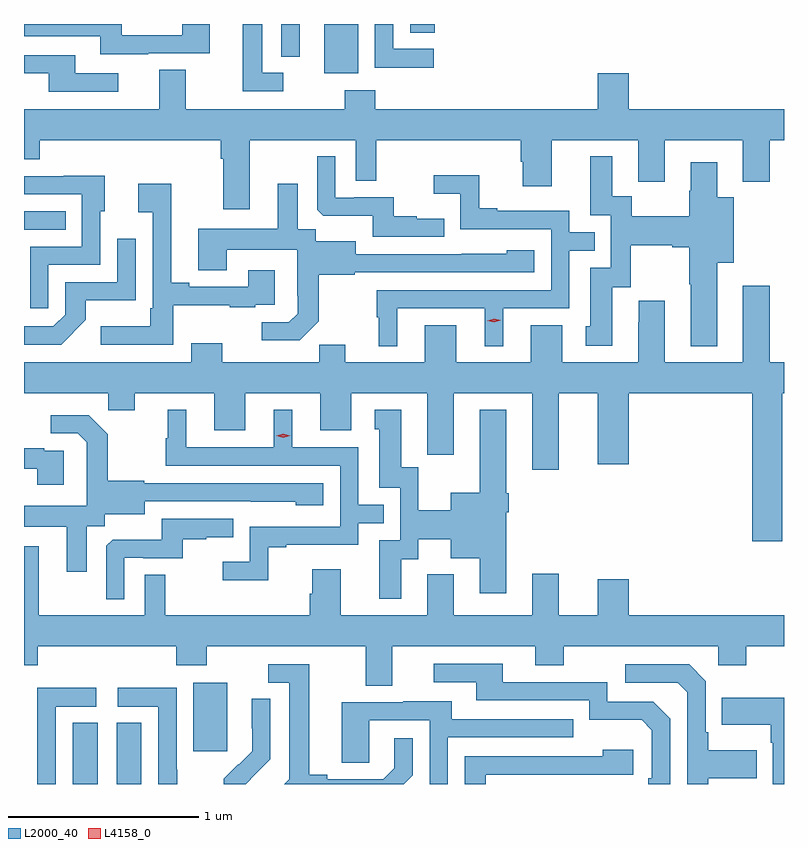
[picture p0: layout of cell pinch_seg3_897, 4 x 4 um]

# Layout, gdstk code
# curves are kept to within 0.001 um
import gdstk
lib = gdstk.Library(unit=1e-6, precision=1e-09)
def R(c, l, rs):  # rectangles x0, y0, x1, y1
    for r in rs: c.add(gdstk.rectangle(r[:2], r[2:], *l))
def P(c, l, *ps):  # polygons
    for p in ps: c.add(gdstk.Polygon(p, *l))
L2000_40 = (2000, 40)
L4158_0 = (4158, 0)

pinch_seg3_897 = lib.new_cell('pinch_seg3_897')
R(pinch_seg3_897, L2000_40, [(821.585,674.884,821.716,675.206), (821.816,674.884,821.947,675.206), (822.221,675.057,822.4,675.418), (821.329,677.802,821.549,677.898), (822.908,678.626,823.087,678.884), (823.361,678.838,823.492,678.884)])
P(pinch_seg3_897, L2000_40, [(821.983,678.729),(822.307,678.729),(822.307,678.884),(822.162,678.884),(822.162,678.825),(821.844,678.825),(821.844,678.884),(821.329,678.884),(821.329,678.819),(821.729,678.819),(821.729,678.725),(821.983,678.725)],
  [(822.694,678.627),(822.583,678.627),(822.583,678.884),(822.479,678.884),(822.479,678.531),(822.694,678.531)],
  [(823.486,678.753),(823.272,678.753),(823.272,678.884),(823.176,678.884),(823.176,678.655),(823.486,678.655)],
  [(822.78,678.866),(822.779,678.866),(822.779,678.884),(822.684,678.884),(822.684,678.712),(822.78,678.712)],
  [(821.824,678.624),(821.599,678.624),(821.599,678.72),(821.329,678.72),(821.329,678.624),(821.459,678.624),(821.459,678.528),(821.824,678.528)],
  [(822.517,678.272),(823.074,678.272),(823.074,678.058),(823.183,678.058),(823.183,678.272),(823.943,678.272),(823.943,678.159),(823.955,678.159),(823.955,678.03),(824.107,678.03),(824.107,678.272),(824.561,678.272),(824.561,678.054),(824.701,678.054),(824.701,678.272),(825.113,678.272),(825.113,678.054),(825.253,678.054),(825.253,678.272),(825.329,678.272),(825.329,678.436),(824.512,678.436),(824.512,678.625),(824.348,678.625),(824.348,678.436),(823.178,678.436),(823.178,678.535),(823.018,678.535),(823.018,678.436),(822.181,678.436),(822.181,678.644),(822.041,678.644),(822.041,678.436),(821.329,678.436),(821.329,678.173),(821.413,678.173),(821.413,678.272),(822.365,678.272),(822.365,678.176),(822.377,678.176),(822.377,677.91),(822.517,677.91)],
  [(823.541,677.86),(823.397,677.86),(823.397,677.872),(823.274,677.872),(823.274,677.973),(823.066,677.973),(823.066,677.97),(822.966,677.97),(822.966,678.187),(822.873,678.187),(822.873,677.907),(822.905,677.876),(823.164,677.876),(823.164,677.763),(823.541,677.763)],
  [(824.977,677.627),(825.064,677.627),(825.064,677.971),(824.977,677.971),(824.977,678.157),(824.837,678.157),(824.837,678.006),(824.83,678.006),(824.83,677.872),(824.527,677.872),(824.527,677.978),(824.425,677.978),(824.425,678.187),(824.309,678.187),(824.309,677.877),(824.418,677.877),(824.418,677.601),(824.309,677.601),(824.309,677.292),(824.285,677.292),(824.285,677.19),(824.425,677.19),(824.425,677.498),(824.523,677.498),(824.523,677.72),(824.741,677.72),(824.741,677.708),(824.83,677.708),(824.83,677.515),(824.837,677.515),(824.837,677.189),(824.977,677.189)],
  [(823.294,677.388),(823.754,677.388),(823.754,677.189),(823.852,677.189),(823.852,677.388),(824.199,677.388),(824.199,677.691),(824.333,677.691),(824.333,677.787),(824.199,677.787),(824.199,677.901),(823.819,677.901),(823.819,677.914),(823.725,677.914),(823.725,678.089),(823.485,678.089),(823.485,677.99),(823.626,677.99),(823.626,677.805),(824.103,677.805),(824.103,677.484),(823.185,677.484),(823.185,677.34),(823.196,677.34),(823.196,677.189),(823.294,677.189)],
  [(821.457,677.616),(821.73,677.616),(821.73,677.898),(821.755,677.898),(821.755,678.086),(821.537,678.086),(821.537,678.084),(821.329,678.084),(821.329,677.988),(821.634,677.988),(821.634,677.712),(821.361,677.712),(821.361,677.388),(821.457,677.388)],
  [(822.115,677.405),(822.413,677.405),(822.413,677.394),(822.545,677.394),(822.545,677.406),(822.649,677.406),(822.649,677.587),(822.509,677.587),(822.509,677.502),(822.199,677.502),(822.199,677.521),(822.103,677.521),(822.103,678.043),(821.931,678.043),(821.931,677.894),(822.006,677.894),(822.006,677.389),(821.994,677.389),(821.994,677.293),(821.733,677.293),(821.733,677.196),(822.115,677.196)],
  [(822.879,677.319),(822.879,677.565),(823.071,677.565),(823.071,677.577),(824.014,677.577),(824.014,677.692),(823.869,677.692),(823.869,677.674),(823.075,677.673),(823.075,677.74),(822.864,677.74),(822.864,677.804),(822.769,677.804),(822.769,678.043),(822.665,678.043),(822.665,677.806),(822.245,677.806),(822.245,677.587),(822.397,677.587),(822.397,677.696),(822.768,677.696),(822.768,677.455),(822.77,677.455),(822.77,677.36),(822.723,677.313),(822.579,677.313),(822.579,677.219),(822.779,677.219)],
  [(821.655,677.327),(821.655,677.429),(821.916,677.429),(821.916,677.755),(821.82,677.755),(821.82,677.526),(821.547,677.526),(821.547,677.355),(821.484,677.292),(821.329,677.292),(821.329,677.196),(821.524,677.196)],
  [(825.321,676.94),(825.329,676.94),(825.329,677.104),(825.253,677.104),(825.253,677.506),(825.113,677.506),(825.113,677.104),(824.701,677.104),(824.701,677.428),(824.564,677.428),(824.564,677.315),(824.561,677.315),(824.561,677.104),(824.161,677.104),(824.161,677.299),(823.997,677.299),(823.997,677.104),(823.603,677.104),(823.603,677.299),(823.439,677.299),(823.439,677.104),(823.021,677.104),(823.021,677.195),(822.883,677.195),(822.883,677.104),(822.373,677.104),(822.373,677.203),(822.209,677.203),(822.209,677.104),(821.329,677.104),(821.329,676.94),(821.773,676.94),(821.773,676.85),(821.911,676.85),(821.911,676.94),(822.329,676.94),(822.329,676.746),(822.493,676.746),(822.493,676.94),(822.887,676.94),(822.887,676.746),(823.051,676.746),(823.051,676.94),(823.451,676.94),(823.451,676.729),(823.452,676.729),(823.452,676.617),(823.591,676.617),(823.591,676.94),(824.003,676.94),(824.003,676.539),(824.143,676.539),(824.143,676.94),(824.348,676.94),(824.348,676.566),(824.512,676.566),(824.512,676.94),(825.161,676.94),(825.161,676.161),(825.321,676.161)],
  [(823.315,676.066),(823.405,676.066),(823.405,676.172),(823.574,676.172),(823.574,676.073),(823.727,676.073),(823.727,675.888),(823.867,675.888),(823.867,676.313),(823.88,676.313),(823.88,676.413),(823.867,676.413),(823.867,676.855),(823.727,676.855),(823.727,676.417),(823.574,676.417),(823.574,676.324),(823.404,676.324),(823.404,676.551),(823.315,676.551),(823.315,676.855),(823.175,676.855),(823.175,676.752),(823.199,676.752),(823.199,676.443),(823.308,676.443),(823.308,676.167),(823.199,676.167),(823.199,675.858),(823.315,675.858)],
  [(822.615,676.131),(822.709,676.131),(822.709,676.143),(823.089,676.143),(823.089,676.257),(823.223,676.257),(823.223,676.353),(823.089,676.353),(823.089,676.656),(822.742,676.656),(822.742,676.855),(822.644,676.855),(822.644,676.656),(822.184,676.656),(822.184,676.855),(822.086,676.855),(822.086,676.704),(822.075,676.704),(822.075,676.56),(822.993,676.56),(822.993,676.239),(822.516,676.239),(822.516,676.054),(822.375,676.054),(822.375,675.956),(822.615,675.956)],
  [(821.659,676.24),(821.754,676.24),(821.754,676.304),(821.965,676.304),(821.965,676.371),(822.759,676.37),(822.759,676.352),(822.904,676.352),(822.904,676.467),(821.961,676.467),(821.961,676.48),(821.769,676.48),(821.769,676.725),(821.669,676.825),(821.469,676.825),(821.469,676.731),(821.613,676.731),(821.66,676.684),(821.66,676.589),(821.658,676.589),(821.658,676.348),(821.329,676.348),(821.329,676.238),(821.555,676.238),(821.555,676.002),(821.659,676.002)],
  [(821.539,676.638),(821.435,676.638),(821.435,676.651),(821.329,676.651),(821.329,676.542),(821.399,676.542),(821.399,676.458),(821.539,676.458)],
  [(821.856,676.074),(821.956,676.074),(821.956,676.071),(822.164,676.071),(822.164,676.173),(822.287,676.173),(822.287,676.184),(822.431,676.184),(822.431,676.281),(822.054,676.281),(822.054,676.169),(821.795,676.169),(821.763,676.137),(821.763,675.857),(821.856,675.857)],
  [(823.267,675.608),(824.021,675.608),(824.021,675.509),(824.169,675.509),(824.169,675.608),(824.982,675.608),(824.982,675.509),(825.129,675.509),(825.129,675.608),(825.329,675.608),(825.329,675.772),(824.512,675.772),(824.512,675.961),(824.348,675.961),(824.348,675.772),(824.143,675.772),(824.143,675.991),(824.003,675.991),(824.003,675.772),(823.591,675.772),(823.591,675.988),(823.451,675.988),(823.451,675.772),(822.997,675.772),(822.997,676.015),(822.845,676.015),(822.845,675.885),(822.833,675.885),(822.833,675.772),(822.073,675.772),(822.073,675.986),(821.964,675.986),(821.964,675.772),(821.407,675.772),(821.407,676.135),(821.329,676.135),(821.329,675.509),(821.402,675.509),(821.402,675.608),(822.131,675.608),(822.131,675.509),(822.291,675.509),(822.291,675.608),(823.127,675.608),(823.127,675.4),(823.267,675.4)],
  [(824.73,675.228),(824.64,675.318),(824.4,675.318),(824.4,675.42),(823.849,675.42),(823.849,675.516),(823.485,675.516),(823.485,675.42),(823.709,675.42),(823.709,675.324),(824.304,675.324),(824.304,675.221),(824.581,675.221),(824.634,675.168),(824.634,674.914),(824.614,674.914),(824.614,674.884),(824.73,674.884)],
  [(824.929,674.914),(825.185,674.914),(825.185,675.061),(824.929,675.061),(824.929,675.157),(824.916,675.157),(824.916,675.426),(824.829,675.513),(824.493,675.513),(824.493,675.417),(824.769,675.417),(824.82,675.366),(824.82,674.884),(824.929,674.884)],
  [(823.374,674.93),(823.374,675.124),(823.277,675.124),(823.277,674.967),(823.22,674.91),(822.925,674.91),(822.925,674.933),(822.829,674.933),(822.829,675.513),(822.615,675.513),(822.615,675.417),(822.725,675.417),(822.725,674.909),(822.7,674.884),(823.328,674.884)],
  [(822.135,674.96),(822.132,674.96),(822.132,675.39),(821.823,675.39),(821.823,675.291),(822.036,675.291),(822.036,674.884),(822.135,674.884)],
  [(821.496,675.291),(821.71,675.291),(821.71,675.39),(821.4,675.39),(821.4,674.96),(821.398,674.96),(821.398,674.884),(821.496,674.884)],
  [(825.329,675.337),(825.001,675.337),(825.001,675.197),(825.258,675.197),(825.258,675.101),(825.27,675.101),(825.27,674.884),(825.329,674.884)],
  [(822.552,674.94),(822.551,674.941),(822.624,675.014),(822.624,675.332),(822.528,675.332),(822.528,675.178),(822.53,675.178),(822.53,675.056),(822.459,674.985),(822.456,674.988),(822.379,674.911),(822.379,674.884),(822.496,674.884)],
  [(823.56,675.129),(824.219,675.129),(824.219,675.225),(823.579,675.225),(823.579,675.319),(823.325,675.319),(823.325,675.315),(823.001,675.315),(823.001,674.995),(823.146,674.995),(823.146,675.219),(823.464,675.219),(823.464,674.884),(823.56,674.884)],
  [(823.759,674.934),(824.536,674.934),(824.536,675.064),(824.375,675.064),(824.375,675.03),(823.65,675.03),(823.65,674.884),(823.759,674.884)])
P(pinch_seg3_897, L4158_0, [(823.803,677.314),(823.767,677.323),(823.767,677.323),(823.767,677.323),(823.803,677.334),(823.839,677.326),(823.839,677.326),(823.839,677.326)],
  [(822.693,676.707),(822.657,676.717),(822.657,676.718),(822.657,676.718),(822.693,676.728),(822.729,676.718),(822.729,676.718),(822.729,676.717)])

lib.write_gds('pinch_seg3_897.gds')
